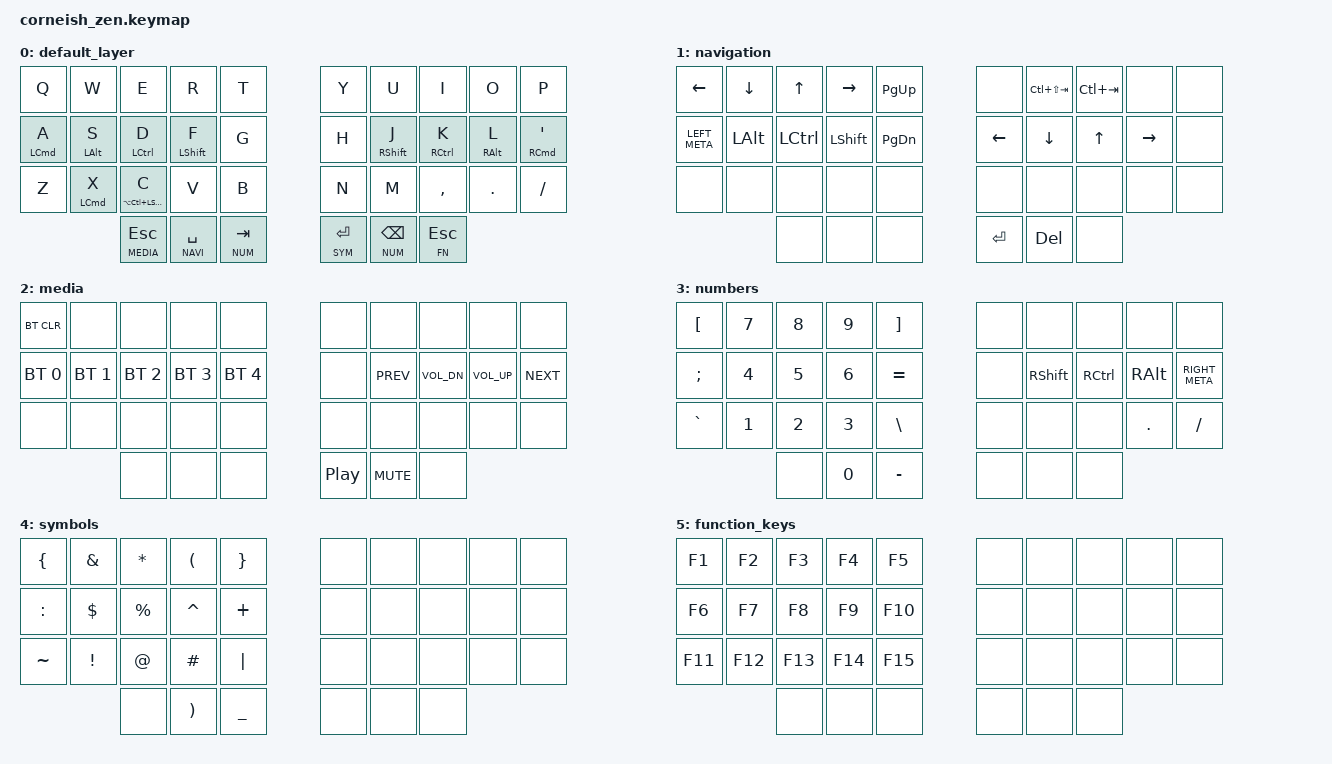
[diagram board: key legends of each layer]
#include <behaviors.dtsi>
#include <dt-bindings/zmk/keys.h>
#include <dt-bindings/zmk/bt.h>

/* Layers */
#define DEFAULT 0
#define NAVI 1
#define MEDIA 2
#define NUM 3
#define SYM 4
#define FN 5

/* Keys */
#define ALL_LEFT 0 1 2 3 4 10 11 12 13 14 20 21 22 23 24 30 31 32
#define CMD_LEFT 3 4 11 13 22 23 24
#define CTRL_LEFT 1 3 4 10 11 21
#define ALL_RIGHT 5 6 7 8 9 15 16 17 18 19 25 26 27 28 29 33 34 35

/* Settings */
#define TAPPING_TERM_MS 200
#define QUICK_TAP_MS 175
#define PRIOR_IDLE_MS 100
#define COMBO_TIMEOUT_MS 50

/ {
    chosen {
        zmk,matrix_transform = &five_column_transform;
    };
};

/ {
    behaviors {
        lcmd: left_cmd_mod {
            compatible = "zmk,behavior-hold-tap";
            label = "LEFT_CMD_MOD";
            #binding-cells = <2>;
            flavor = "tap-preferred";
            tapping-term-ms = <TAPPING_TERM_MS>;
            quick-tap-ms = <QUICK_TAP_MS>;
            require-prior-idle-ms = <PRIOR_IDLE_MS>;
            bindings = <&kp>, <&kp>;
            hold-trigger-key-positions = <ALL_RIGHT CMD_LEFT>;
            hold-trigger-on-release;
        };
        lctrl: left_ctrl_mod {
            compatible = "zmk,behavior-hold-tap";
            label = "LEFT_CTRL_MOD";
            #binding-cells = <2>;
            flavor = "tap-preferred";
            tapping-term-ms = <TAPPING_TERM_MS>;
            quick-tap-ms = <QUICK_TAP_MS>;
            require-prior-idle-ms = <PRIOR_IDLE_MS>;
            bindings = <&kp>, <&kp>;
            hold-trigger-key-positions = <ALL_RIGHT CTRL_LEFT>;
            hold-trigger-on-release;
        };
        lalt: left_alt_mod {
            compatible = "zmk,behavior-hold-tap";
            label = "LEFT_ALT_MOD";
            #binding-cells = <2>;
            flavor = "tap-preferred";
            tapping-term-ms = <TAPPING_TERM_MS>;
            quick-tap-ms = <QUICK_TAP_MS>;
            require-prior-idle-ms = <PRIOR_IDLE_MS>;
            bindings = <&kp>, <&kp>;
            hold-trigger-key-positions = <ALL_RIGHT>;
            hold-trigger-on-release;
        };
        rm: right_mods {
            compatible = "zmk,behavior-hold-tap";
            label = "RIGHT_MODS";
            #binding-cells = <2>;
            flavor = "tap-preferred";
            tapping-term-ms = <TAPPING_TERM_MS>;
            quick-tap-ms = <QUICK_TAP_MS>;
            require-prior-idle-ms = <PRIOR_IDLE_MS>;
            bindings = <&kp>, <&kp>;
            hold-trigger-key-positions = <ALL_LEFT>;
            hold-trigger-on-release;
        };
        ht: hold_tap {
            compatible = "zmk,behavior-hold-tap";
            label = "HOLD_TAP_MODS";
            #binding-cells = <2>;
            flavor = "tap-preferred";
            tapping-term-ms = <TAPPING_TERM_MS>;
            quick-tap-ms = <QUICK_TAP_MS>;
            bindings = <&kp>, <&kp>;
        };
        hyp: hyper {
            compatible = "zmk,behavior-hold-tap";
            label = "META_FOR_HYPER";
            #binding-cells = <2>;
            flavor = "tap-preferred";
            tapping-term-ms = <TAPPING_TERM_MS>;
            quick-tap-ms = <QUICK_TAP_MS>;
            bindings = <&kp>, <&kp>;
            hold-trigger-key-positions = <22>;
            hold-trigger-on-release;
        };
        clt: layer_tap {
            compatible = "zmk,behavior-hold-tap";
            label = "LAYER_TAP_MODS";
            #binding-cells = <2>;
            flavor = "tap-preferred";
            tapping-term-ms = <TAPPING_TERM_MS>;
            quick-tap-ms = <QUICK_TAP_MS>;
            bindings = <&mo>, <&kp>;
        };
    };

    combos {
        compatible = "zmk,combos";

        jk_escape {
            timeout-ms = <COMBO_TIMEOUT_MS>;
            bindings = <&kp ESCAPE>;
            key-positions = <16 17>;
            layers = <DEFAULT>;
        };

        caps_word {
            timeout-ms = <COMBO_TIMEOUT_MS>;
            bindings = <&caps_word>;
            key-positions = <13 16>;
        };
    };

    keymap {
        compatible = "zmk,keymap";

        default_layer {
            bindings = <                
&kp Q  &kp W  &kp E  &kp R  &kp T  &kp Y  &kp U  &kp I  &kp O  &kp P
&lcmd LEFT_COMMAND A  &lalt LEFT_ALT S  &lctrl LEFT_CONTROL  D  &ht LEFT_SHIFT F  &kp G  &kp H  &ht RIGHT_SHIFT J  &rm RIGHT_CONTROL K  &rm RIGHT_ALT L  &rm RIGHT_COMMAND APOSTROPHE
&kp Z  &hyp LEFT_COMMAND X  &ht LA(LC(LSHIFT)) C  &kp V  &kp B  &kp N  &kp M  &kp COMMA  &kp DOT  &kp SLASH
&clt MEDIA ESC  &clt NAVI SPACE  &clt NUM TAB  &clt SYM ENTER  &clt NUM BSPC  &clt FN ESC
            >;
        };

        navigation {
            bindings = <
&kp LEFT  &kp DOWN  &kp UP  &kp RIGHT  &kp PG_UP  &none  &kp LC(LS(TAB))  &kp LC(TAB)  &none  &none
&kp LEFT_META  &kp LEFT_ALT  &kp LEFT_CONTROL  &kp LEFT_SHIFT  &kp PG_DN  &kp LEFT  &kp DOWN  &kp UP  &kp RIGHT  &none
&none  &none  &none  &none  &none  &none  &none  &none  &none  &none
&none  &none  &none  &kp ENTER  &kp DEL  &none
            >;
        };

        media {
            bindings = <
&bt BT_CLR  &none  &none  &none  &none  &none  &none  &none  &none  &none
&bt BT_SEL 0  &bt BT_SEL 1  &bt BT_SEL 2  &bt BT_SEL 3  &bt BT_SEL 4  &none  &kp C_PREV  &kp C_VOL_DN  &kp C_VOL_UP  &kp C_NEXT
&none  &none  &none  &none  &none  &none  &none  &none  &none  &none
&none  &none  &none  &kp C_PLAY_PAUSE  &kp C_MUTE  &none
            >;
        };

        numbers {
            bindings = <
&kp LBKT  &kp N7  &kp N8  &kp N9  &kp RBKT  &none  &none  &none  &none  &none
&kp SEMI  &kp N4  &kp N5  &kp N6  &kp EQUAL  &none  &kp RIGHT_SHIFT  &kp RIGHT_CONTROL  &kp RIGHT_ALT  &kp RIGHT_META
&kp GRAVE  &kp N1  &kp N2  &kp N3  &kp BSLH  &none  &none  &none  &kp DOT  &kp SLASH
&none  &kp N0  &kp MINUS  &none  &none  &none
            >;
        };

        symbols {
            bindings = <
&kp LBRC  &kp AMPS  &kp STAR  &kp LPAR  &kp RBRC  &none  &none  &none  &none  &none
&kp COLON  &kp DLLR  &kp PRCNT  &kp CARET  &kp PLUS  &none  &none  &none  &none  &none
&kp TILDE  &kp EXCL  &kp AT  &kp HASH  &kp PIPE  &none  &none  &none  &none  &none
&none  &kp RPAR  &kp UNDERSCORE  &none  &none  &none
            >;
        };

        function_keys {
            bindings = <
&kp F1  &kp F2  &kp F3  &kp F4  &kp F5  &none  &none  &none  &none  &none
&kp F6  &kp F7  &kp F8  &kp F9  &kp F10  &none  &none  &none  &none  &none
&kp F11  &kp F12  &kp F13  &kp F14  &kp F15  &none  &none  &none  &none  &none
&none  &none  &none  &none  &none  &none
            >;
        };
    };
};
